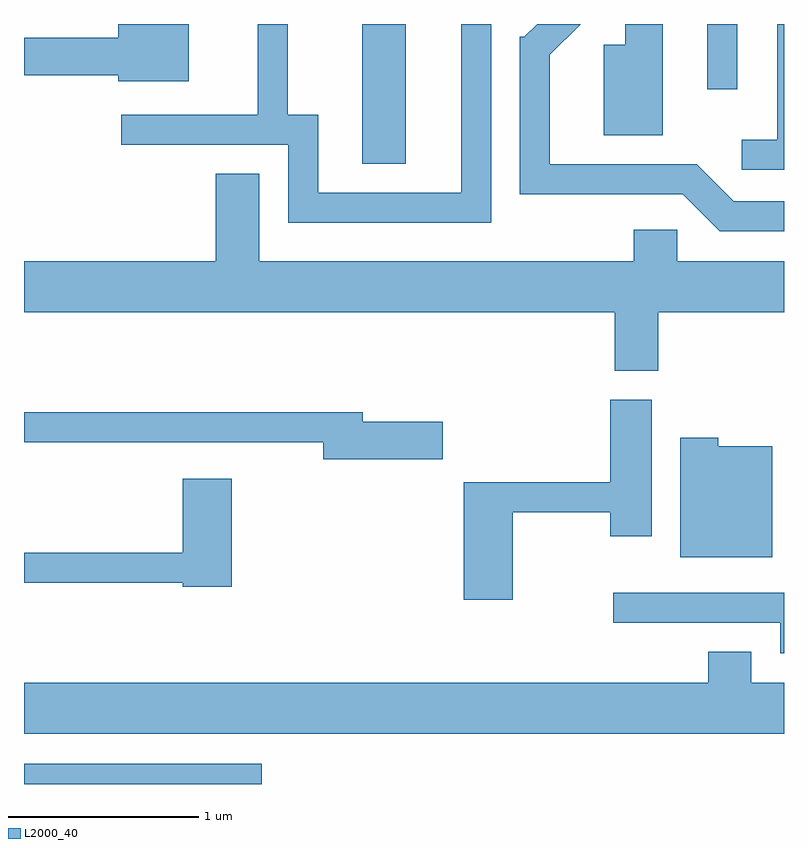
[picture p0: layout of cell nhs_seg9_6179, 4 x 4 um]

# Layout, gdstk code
import gdstk
lib = gdstk.Library(unit=1e-6, precision=1e-09)
def R(c, l, rs):  # rectangles x0, y0, x1, y1
    for r in rs: c.add(gdstk.rectangle(r[:2], r[2:], *l))
def P(c, l, *ps):  # polygons
    for p in ps: c.add(gdstk.Polygon(p, *l))
L2000_40 = (2000, 40)

nhs_seg9_6179 = lib.new_cell('nhs_seg9_6179')
R(nhs_seg9_6179, L2000_40, [(367.611,2000.432,368.863,2000.539), (369.391,2003.696,369.619,2004.432), (371.206,2004.088,371.364,2004.432)])
P(nhs_seg9_6179, L2000_40, [(371.611,2003.499),(371.347,2003.499),(371.152,2003.694),(370.379,2003.694),(370.379,2004.269),(370.542,2004.432),(370.312,2004.432),(370.244,2004.364),(370.221,2004.364),(370.221,2003.536),(371.079,2003.536),(371.274,2003.341),(371.611,2003.341)],
  [(370.069,2004.432),(369.911,2004.432),(369.911,2003.544),(369.159,2003.544),(369.159,2003.954),(368.999,2003.954),(368.999,2004.432),(368.841,2004.432),(368.841,2003.954),(368.123,2003.954),(368.123,2003.796),(369.001,2003.796),(369.001,2003.386),(370.069,2003.386)],
  [(368.479,2004.432),(368.106,2004.432),(368.106,2004.359),(367.611,2004.359),(367.611,2004.161),(368.106,2004.161),(368.106,2004.131),(368.479,2004.131)],
  [(371.611,2004.432),(371.576,2004.432),(371.576,2003.824),(371.388,2003.824),(371.388,2003.666),(371.611,2003.666)],
  [(370.974,2004.432),(370.776,2004.432),(370.776,2004.324),(370.661,2004.324),(370.661,2003.846),(370.974,2003.846)],
  [(370.949,2002.916),(371.611,2002.916),(371.611,2003.184),(371.049,2003.184),(371.049,2003.349),(370.821,2003.349),(370.821,2003.184),(368.849,2003.184),(368.849,2003.644),(368.621,2003.644),(368.621,2003.184),(367.611,2003.184),(367.611,2002.916),(370.721,2002.916),(370.721,2002.606),(370.949,2002.606)],
  [(370.184,2001.861),(370.696,2001.861),(370.696,2001.736),(370.914,2001.736),(370.914,2002.454),(370.696,2002.454),(370.696,2002.019),(369.926,2002.019),(369.926,2001.401),(370.184,2001.401)],
  [(369.814,2002.339),(369.394,2002.339),(369.394,2002.389),(367.611,2002.389),(367.611,2002.231),(369.186,2002.231),(369.186,2002.141),(369.814,2002.141)],
  [(371.549,2002.209),(371.264,2002.209),(371.264,2002.254),(371.066,2002.254),(371.066,2001.626),(371.549,2001.626)],
  [(368.704,2002.039),(368.446,2002.039),(368.446,2001.649),(367.611,2001.649),(367.611,2001.491),(368.446,2001.491),(368.446,2001.471),(368.704,2001.471)],
  [(371.611,2001.439),(370.713,2001.439),(370.713,2001.281),(371.591,2001.281),(371.591,2001.121),(371.611,2001.121)],
  [(371.611,2000.964),(371.439,2000.964),(371.439,2001.129),(371.211,2001.129),(371.211,2000.964),(367.611,2000.964),(367.611,2000.696),(371.611,2000.696)])

lib.write_gds('nhs_seg9_6179.gds')
